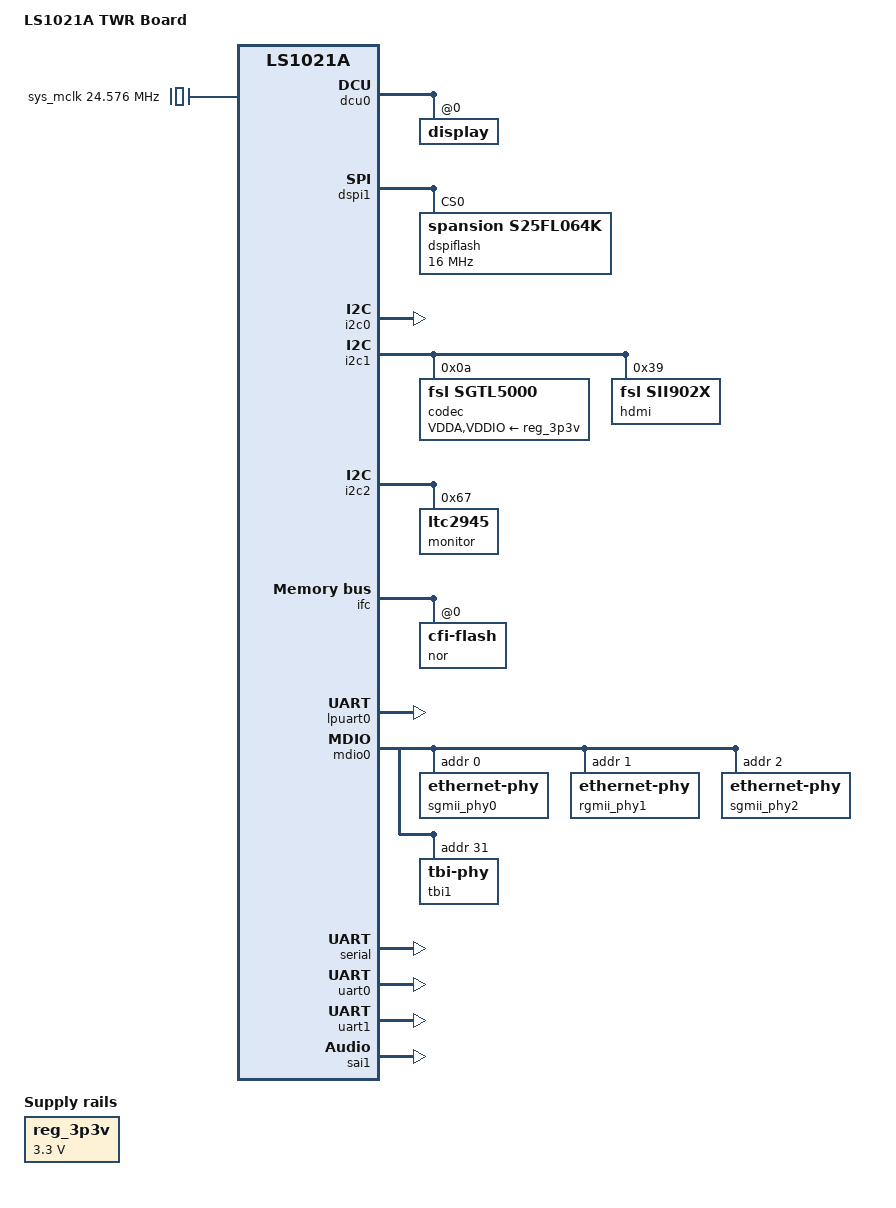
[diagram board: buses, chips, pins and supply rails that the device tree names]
/*
 * Copyright 2013-2014 Freescale Semiconductor, Inc.
 *
 * This file is dual-licensed: you can use it either under the terms
 * of the GPL or the X11 license, at your option. Note that this dual
 * licensing only applies to this file, and not this project as a
 * whole.
 *
 *  a) This file is free software; you can redistribute it and/or
 *     modify it under the terms of the GNU General Public License as
 *     published by the Free Software Foundation; either version 2 of
 *     the License, or (at your option) any later version.
 *
 *     This file is distributed in the hope that it will be useful,
 *     but WITHOUT ANY WARRANTY; without even the implied warranty of
 *     MERCHANTABILITY or FITNESS FOR A PARTICULAR PURPOSE.  See the
 *     GNU General Public License for more details.
 *
 *     You should have received a copy of the GNU General Public
 *     License along with this file; if not, write to the Free
 *     Software Foundation, Inc., 51 Franklin St, Fifth Floor, Boston,
 *     MA 02110-1301 USA
 *
 * Or, alternatively,
 *
 *  b) Permission is hereby granted, free of charge, to any person
 *     obtaining a copy of this software and associated documentation
 *     files (the "Software"), to deal in the Software without
 *     restriction, including without limitation the rights to use,
 *     copy, modify, merge, publish, distribute, sublicense, and/or
 *     sell copies of the Software, and to permit persons to whom the
 *     Software is furnished to do so, subject to the following
 *     conditions:
 *
 *     The above copyright notice and this permission notice shall be
 *     included in all copies or substantial portions of the Software.
 *
 *     THE SOFTWARE IS PROVIDED "AS IS", WITHOUT WARRANTY OF ANY KIND,
 *     EXPRESS OR IMPLIED, INCLUDING BUT NOT LIMITED TO THE WARRANTIES
 *     OF MERCHANTABILITY, FITNESS FOR A PARTICULAR PURPOSE AND
 *     NONINFRINGEMENT. IN NO EVENT SHALL THE AUTHORS OR COPYRIGHT
 *     HOLDERS BE LIABLE FOR ANY CLAIM, DAMAGES OR OTHER LIABILITY,
 *     WHETHER IN AN ACTION OF CONTRACT, TORT OR OTHERWISE, ARISING
 *     FROM, OUT OF OR IN CONNECTION WITH THE SOFTWARE OR THE USE OR
 *     OTHER DEALINGS IN THE SOFTWARE.
 */

/dts-v1/;
#include "ls1021a.dtsi"

/ {
	model = "LS1021A TWR Board";

	aliases {
		enet2_rgmii_phy = &rgmii_phy1;
		enet0_sgmii_phy = &sgmii_phy2;
		enet1_sgmii_phy = &sgmii_phy0;
	};

	clocks {
		sys_mclk: clock {
			compatible = "fixed-clock";
			#clock-cells = <0>;
			clock-frequency = <24576000>;
		};
	};

	regulators {
		compatible = "simple-bus";
		#address-cells = <1>;
		#size-cells = <0>;

		reg_3p3v: regulator@0 {
			compatible = "regulator-fixed";
			reg = <0>;
			regulator-name = "3P3V";
			regulator-min-microvolt = <3300000>;
			regulator-max-microvolt = <3300000>;
			regulator-always-on;
		};
	};

	sound {
		compatible = "fsl,vf610-sgtl5000";
		simple-audio-card,name = "FSL-VF610-TWR-BOARD";
		simple-audio-card,routing =
			"MIC_IN", "Microphone Jack",
			"Microphone Jack", "Mic Bias",
			"LINE_IN", "Line In Jack",
			"Headphone Jack", "HP_OUT",
			"Speaker Ext", "LINE_OUT";

		simple-audio-card,cpu = <&sai1>;

		simple-audio-card,codec = <&codec>;
	};
};

&dcu0 {
	display = <&display>;
	status = "okay";

	display: display@0 {
		bits-per-pixel = <24>;

		display-timings {
			native-mode = <&timing0>;
			timing0: nl4827hc19 {
				clock-frequency = <10870000>;
				hactive = <480>;
				vactive = <272>;
				hback-porch = <2>;
				hfront-porch = <2>;
				vback-porch = <2>;
				vfront-porch = <2>;
				hsync-len = <41>;
				vsync-len = <4>;
				hsync-active = <1>;
				vsync-active = <1>;
			};
		};
	};
};

&dspi1 {
	bus-num = <0>;
	status = "okay";

	dspiflash: s25fl064k@0 {
		#address-cells = <1>;
		#size-cells = <1>;
		compatible = "spansion,s25fl064k";
		spi-max-frequency = <16000000>;
		spi-cpol;
		spi-cpha;
		reg = <0>;
	};
};

&i2c0 {
	status = "okay";
};

&i2c1 {
	status = "okay";
	codec: sgtl5000@a {
		compatible = "fsl,sgtl5000";
		reg = <0x0a>;
		VDDA-supply = <&reg_3p3v>;
		VDDIO-supply = <&reg_3p3v>;
		clocks = <&sys_mclk 1>;
	};

	hdmi: sii9022a@39 {
	      compatible = "fsl,sii902x";
	      reg = <0x39>;
	      interrupts = <GIC_SPI 167 IRQ_TYPE_EDGE_RISING>;
	};
};

&i2c2 {
	status = "okay";
	monitor: ltc2945@67 {
		reg = <0x67>;
	};
};

&ifc {
	#address-cells = <2>;
	#size-cells = <1>;
	/* NOR Flash on board */
	ranges = <0x0 0x0 0x0 0x60000000 0x08000000>;
	status = "okay";

	nor@0,0 {
		#address-cells = <1>;
		#size-cells = <1>;
		compatible = "cfi-flash";
		reg = <0x0 0x0 0x8000000>;
		bank-width = <2>;
		device-width = <1>;
	};
};

&lpuart0 {
	status = "okay";
};

&mdio0 {
	sgmii_phy0: ethernet-phy@0 {
		reg = <0x0>;
	};
	rgmii_phy1: ethernet-phy@1 {
		reg = <0x1>;
	};
	sgmii_phy2: ethernet-phy@2 {
		reg = <0x2>;
	};
	tbi1: tbi-phy@1f {
		reg = <0x1f>;
		device_type = "tbi-phy";
	};
};

&uqe {
	tdma: ucc@2000 {
		compatible = "fsl,ucc-tdm";
		rx-clock-name = "clk8";
		tx-clock-name = "clk9";
		fsl,rx-sync-clock = "rsync_pin";
		fsl,tx-sync-clock = "tsync_pin";
		fsl,tx-timeslot = <0xfffffffe>;
		fsl,rx-timeslot = <0xfffffffe>;
		fsl,tdm-framer-type = "e1";
		fsl,tdm-mode = "normal";
		fsl,tdm-id = <0>;
		fsl,siram-entry-id = <0>;
	};

	serial: ucc@2200 {
		device_type = "serial";
		compatible = "ucc_uart";
		port-number = <1>;
		rx-clock-name = "brg2";
		tx-clock-name = "brg2";
	};
};

&uart0 {
	status = "okay";
};

&uart1 {
	status = "okay";
};

&sai1 {
	status = "okay";
};
